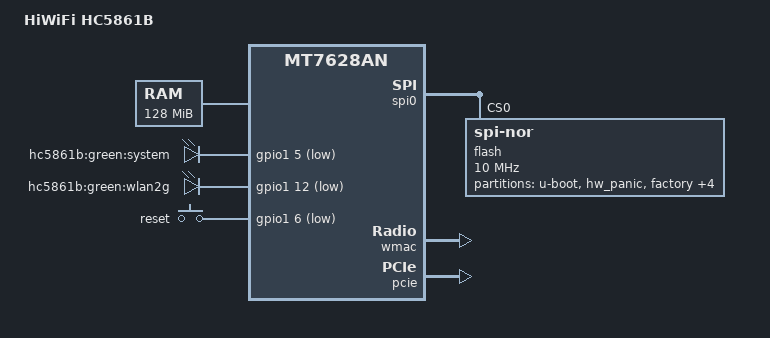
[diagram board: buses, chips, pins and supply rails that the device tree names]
/dts-v1/;

#include "mt7628an.dtsi"

#include <dt-bindings/gpio/gpio.h>
#include <dt-bindings/input/input.h>

/ {
	compatible = "hiwifi,hc5861b", "mediatek,mt7628an-soc";
	model = "HiWiFi HC5861B";

	aliases {
		led-status = &led_system;
	};

	chosen {
		bootargs = "console=ttyS0,115200";
	};

	memory@0 {
		device_type = "memory";
		reg = <0x0 0x8000000>;
	};

	gpio-leds {
		compatible = "gpio-leds";

		led_system: system {
			label = "hc5861b:green:system";
			gpios = <&gpio1 5 GPIO_ACTIVE_LOW>;
		};
		wlan2g {
			label = "hc5861b:green:wlan2g";
			gpios = <&gpio1 12 GPIO_ACTIVE_LOW>;
		};
	};

	gpio-keys {
		compatible = "gpio-keys-polled";
		poll-interval = <20>;

		reset {
			label = "reset";
			gpios = <&gpio1 6 GPIO_ACTIVE_LOW>;
			linux,code = <KEY_RESTART>;
		};
	};
};

&pinctrl {
	state_default: pinctrl0 {
		gpio {
			ralink,group = "refclk", "wdt", "wled_an";
			ralink,function = "gpio";
		};
	};
};

&spi0 {
	status = "okay";

	flash@0 {
		compatible = "jedec,spi-nor";
		reg = <0>;
		spi-max-frequency = <10000000>;
		m25p,chunked-io = <32>;

		partitions {
			compatible = "fixed-partitions";
			#address-cells = <1>;
			#size-cells = <1>;

			partition@0 {
				label = "u-boot";
				reg = <0x0 0x30000>;
				read-only;
			};

			partition@30000 {
				label = "hw_panic";
				reg = <0x30000 0x10000>;
				read-only;
			};

			factory: partition@40000 {
				label = "factory";
				reg = <0x40000 0x10000>;
				read-only;
			};

			partition@50000 {
				label = "firmware";
				reg = <0x50000 0xf70000>;
			};

			partition@fc0000 {
				label = "oem";
				reg = <0xfc0000 0x20000>;
				read-only;
			};

			bdinfo: partition@fe0000 {
				label = "bdinfo";
				reg = <0xfe0000 0x10000>;
				read-only;
			};

			partition@ff0000 {
				label = "backup";
				reg = <0xff0000 0x10000>;
				read-only;
			};
		};
	};
};

&ethernet {
	mtd-mac-address = <&factory 0x4>;
};

&wmac {
	status = "okay";
};

&pcie {
	status = "okay";
};

&pcie0 {
	wifi@0,0 {
		reg = <0x0000 0 0 0 0>;
		mediatek,mtd-eeprom = <&factory 0x8000>;
		mtd-mac-address = <&factory 0x2e>;
		ieee80211-freq-limit = <5000000 6000000>;

		led {
			led-sources = <2>;
			led-active-low;
		};
	};
};
